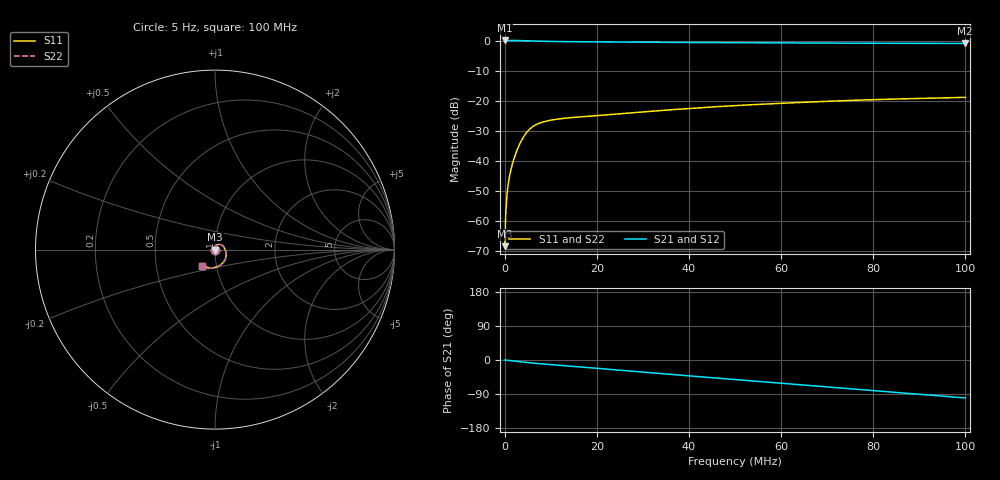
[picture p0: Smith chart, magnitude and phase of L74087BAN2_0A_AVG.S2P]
!Agilent Technologies,E5061B,MY49102235,A.02.00
!Date: Mon Jul 10 16:46:21 2023
!Data & Calibration Information:
!Freq	S11:SOLT2(ON)	S21:SOLT2(ON)	S12:SOLT2(ON)	S22:SOLT2(ON)
# Hz S RI R 50
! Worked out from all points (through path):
!   1600 points, 5 Hz to 100 MHz, reference 50 ohm
!   highest |S21| = 0.02 dB at 5 Hz (marker M1); lowest = -1.0 dB at 99.81 MHz (marker M2)
!   group delay of S21, straight-line fit = 2.73 ns
!   lowest |S11| = -68.4 dB at 62.54 kHz (marker M3), VSWR 1.00, Z = 50 + j0.0375 ohm
!   |S11| at or under -10 dB: start of sweep to end of sweep
!   |S22| runs from -77.3 to -18.8 dB; largest |S21 - S12| = 0.0027
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5  -0.000451 0.000435  1.002 0.00232  1.001 -6.27e-05  -0.000121 -6.46e-05
62544.08  -5.14e-05 0.000375  1 -0.00128  1 -0.00107  1.67e-05 0.00027
375239.5  0.000128 0.002  0.9999 -0.0086  1 -0.00859  8.86e-05 0.00195
562856.8  0.000261 0.003  0.9995 -0.0132  0.9995 -0.0129  0.000188 0.00294
625395.8  0.000255 0.00328  0.9996 -0.0145  0.9989 -0.0143  0.000277 0.00332
813013.1  0.000167 0.00421  1 -0.0189  0.9989 -0.0184  0.000151 0.00415
1125709  0.000297 0.00583  0.9997 -0.0262  0.999 -0.0258  0.000325 0.0058
1626021  0.000638 0.00848  0.9989 -0.038  0.9988 -0.0373  0.000659 0.00845
2313951  0.00128 0.0125  0.9978 -0.0544  0.9977 -0.0536  0.00134 0.0124
3126959  0.00305 0.0176  0.9954 -0.0739  0.9952 -0.0738  0.00306 0.0176
4127585  0.00744 0.0239  0.9901 -0.0984  0.9899 -0.098  0.00746 0.0239
4940593  0.0129 0.0277  0.9834 -0.1167  0.9832 -0.1165  0.0128 0.0277
5753601  0.019 0.0297  0.9758 -0.1335  0.9758 -0.1331  0.019 0.0298
7754851  0.0321 0.0281  0.9584 -0.1677  0.9583 -0.1674  0.0321 0.0282
1.11945e7  0.0447 0.0199  0.9355 -0.2206  0.9354 -0.2203  0.0447 0.0199
1.669794e7  0.0533 0.00704  0.9022 -0.3037  0.9022 -0.3037  0.0535 0.00693
3.333334e7  0.0622 -0.0269  0.7627 -0.5394  0.7629 -0.5392  0.0626 -0.0276
5.003127e7  0.0505 -0.0653  0.5692 -0.7202  0.5695 -0.7202  0.0504 -0.0661
6.672921e7  0.0161 -0.0937  0.3414 -0.8393  0.3413 -0.8392  0.0162 -0.0948
8.33646e7  -0.0274 -0.1019  0.0939 -0.8942  0.0941 -0.8943  -0.0275 -0.1032
9.981238e7  -0.0702 -0.089  -0.1557 -0.88  -0.1561 -0.8802  -0.0706 -0.091
1e8  -0.0706 -0.0887  -0.1585 -0.8796  -0.1589 -0.8797  -0.0712 -0.0909
